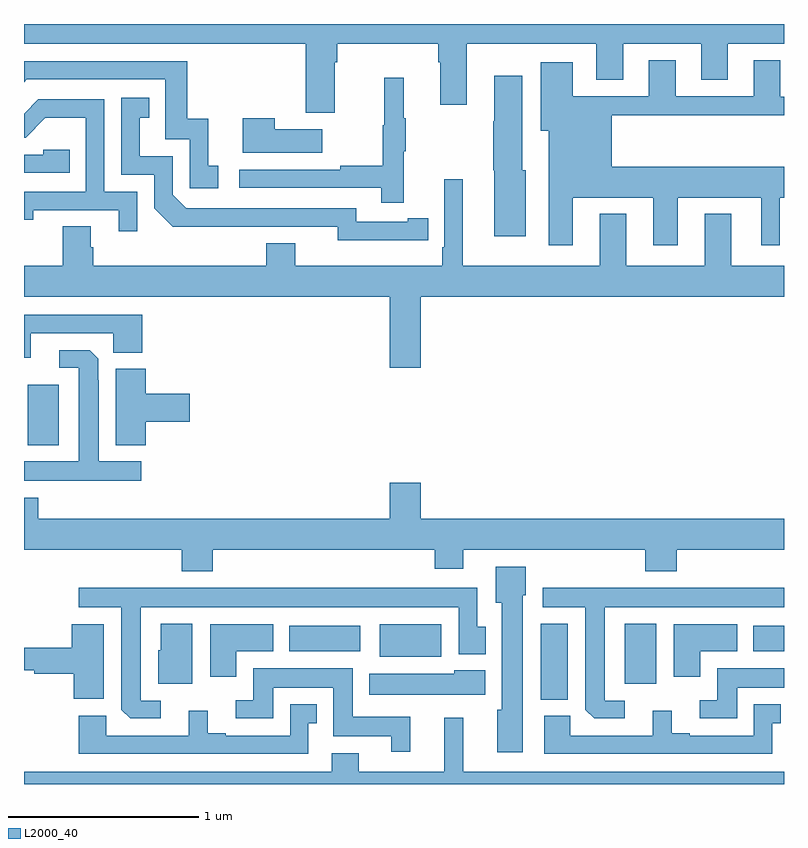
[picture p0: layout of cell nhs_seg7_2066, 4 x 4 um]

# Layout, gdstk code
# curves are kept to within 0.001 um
import gdstk
lib = gdstk.Library(unit=1e-6, precision=1e-09)
def R(c, l, rs):  # rectangles x0, y0, x1, y1
    for r in rs: c.add(gdstk.rectangle(r[:2], r[2:], *l))
def P(c, l, *ps):  # polygons
    for p in ps: c.add(gdstk.Polygon(p, *l))
L2000_40 = (2000, 40)

nhs_seg7_2066 = lib.new_cell('nhs_seg7_2066')
R(nhs_seg7_2066, L2000_40, [(249.719,1050.443,249.862,1050.844), (250.163,1050.528,250.327,1050.844), (248.873,1050.671,249.196,1050.841), (248.396,1050.698,248.77,1050.832), (250.838,1050.698,251,1050.832), (247.019,1051.784,247.183,1052.101)])
P(nhs_seg7_2066, L2000_40, [(251,1054),(247,1054),(247,1053.896),(248.483,1053.896),(248.483,1053.534),(248.635,1053.534),(248.635,1053.8),(248.648,1053.8),(248.648,1053.896),(249.179,1053.896),(249.179,1053.8),(249.191,1053.8),(249.191,1053.576),(249.331,1053.576),(249.331,1053.896),(250.013,1053.896),(250.013,1053.706),(250.153,1053.706),(250.153,1053.896),(250.565,1053.896),(250.565,1053.706),(250.705,1053.706),(250.705,1053.896),(251,1053.896)],
  [(249.889,1053.086),(250.313,1053.086),(250.313,1052.835),(250.441,1052.835),(250.441,1053.086),(250.88,1053.086),(250.88,1052.835),(250.978,1052.835),(250.978,1053.086),(251,1053.086),(251,1053.25),(250.093,1053.25),(250.093,1053.52),(251,1053.52),(251,1053.618),(250.981,1053.618),(250.981,1053.808),(250.841,1053.808),(250.841,1053.621),(250.429,1053.621),(250.429,1053.808),(250.289,1053.808),(250.289,1053.621),(249.889,1053.621),(249.889,1053.799),(249.719,1053.799),(249.719,1053.437),(249.761,1053.437),(249.761,1052.835),(249.889,1052.835)],
  [(248.023,1053.255),(247.97,1053.255),(247.97,1053.502),(247.859,1053.502),(247.859,1053.804),(247,1053.804),(247,1053.694),(247.014,1053.708),(247.743,1053.708),(247.743,1053.393),(247.872,1053.393),(247.872,1053.135),(248.023,1053.135)],
  [(249.64,1053.231),(249.622,1053.231),(249.622,1053.727),(249.476,1053.727),(249.476,1053.488),(249.469,1053.488),(249.469,1053.231),(249.476,1053.231),(249.476,1052.883),(249.64,1052.883)],
  [(248.999,1053.331),(249.01,1053.331),(249.01,1053.505),(248.999,1053.505),(248.999,1053.718),(248.896,1053.718),(248.896,1053.468),(248.889,1053.468),(248.889,1053.254),(248.665,1053.254),(248.665,1053.234),(248.133,1053.234),(248.133,1053.138),(248.881,1053.138),(248.881,1053.06),(248.999,1053.06)],
  [(249.02,1052.862),(249.128,1052.862),(249.128,1052.978),(249.02,1052.978),(249.02,1052.958),(248.748,1052.958),(248.748,1053.03),(247.854,1053.03),(247.782,1053.102),(247.782,1053.303),(247.609,1053.303),(247.609,1053.507),(247.658,1053.507),(247.658,1053.613),(247.512,1053.613),(247.512,1053.207),(247.686,1053.207),(247.686,1053.03),(247.784,1052.933),(248.652,1052.934),(248.652,1052.861)],
  [(247.596,1053.117),(247.422,1053.117),(247.422,1053.603),(247.076,1053.603),(247,1053.527),(247,1053.402),(247.008,1053.402),(247.112,1053.506),(247.326,1053.506),(247.326,1053.117),(247,1053.117),(247,1052.97),(247.048,1052.97),(247.048,1053.021),(247.499,1053.021),(247.499,1052.91),(247.596,1052.91)],
  [(248.569,1053.445),(248.321,1053.445),(248.321,1053.505),(248.15,1053.505),(248.15,1053.323),(248.569,1053.323)],
  [(247.241,1053.339),(247.101,1053.339),(247.101,1053.312),(247,1053.312),(247,1053.216),(247.241,1053.216)],
  [(248.428,1052.845),(248.276,1052.845),(248.276,1052.728),(247.364,1052.728),(247.364,1052.826),(247.351,1052.826),(247.351,1052.936),(247.204,1052.936),(247.204,1052.728),(247,1052.728),(247,1052.564),(248.924,1052.564),(248.924,1052.19),(249.088,1052.19),(249.088,1052.564),(251,1052.564),(251,1052.728),(250.723,1052.728),(250.723,1053.001),(250.583,1053.001),(250.583,1052.728),(250.171,1052.728),(250.171,1053.001),(250.031,1053.001),(250.031,1052.728),(249.31,1052.728),(249.31,1053.184),(249.213,1053.184),(249.213,1052.824),(249.2,1052.824),(249.2,1052.728),(248.428,1052.728)],
  [(247.036,1052.373),(247.47,1052.373),(247.47,1052.27),(247.622,1052.27),(247.622,1052.469),(247,1052.469),(247,1052.244),(247.036,1052.244)],
  [(247.618,1051.699),(247.393,1051.699),(247.392,1052.237),(247.346,1052.283),(247.185,1052.283),(247.185,1052.19),(247.289,1052.19),(247.289,1051.699),(247,1051.699),(247,1051.595),(247.618,1051.595)],
  [(247.64,1051.907),(247.873,1051.907),(247.873,1052.054),(247.64,1052.054),(247.64,1052.185),(247.484,1052.185),(247.484,1051.784),(247.64,1051.784)],
  [(247.994,1051.232),(249.161,1051.232),(249.161,1051.133),(249.313,1051.133),(249.313,1051.232),(250.271,1051.232),(250.271,1051.121),(250.436,1051.121),(250.436,1051.232),(251,1051.232),(251,1051.396),(249.088,1051.396),(249.088,1051.585),(248.924,1051.585),(248.924,1051.396),(247.076,1051.396),(247.076,1051.507),(247,1051.507),(247,1051.232),(247.829,1051.232),(247.829,1051.121),(247.994,1051.121)],
  [(249.625,1050.993),(249.64,1050.993),(249.64,1051.144),(249.482,1051.144),(249.482,1050.953),(249.515,1050.953),(249.515,1050.39),(249.491,1050.39),(249.491,1050.168),(249.625,1050.168)],
  [(250.162,1050.438),(250.057,1050.438),(250.057,1050.929),(251,1050.929),(251,1051.033),(249.729,1051.033),(249.729,1050.929),(249.953,1050.929),(249.954,1050.391),(250,1050.345),(250.162,1050.345)],
  [(247.72,1050.438),(247.615,1050.438),(247.615,1050.929),(249.288,1050.929),(249.288,1050.684),(249.43,1050.684),(249.43,1050.828),(249.385,1050.828),(249.385,1051.033),(247.287,1051.033),(247.287,1050.929),(247.511,1050.929),(247.512,1050.391),(247.558,1050.345),(247.72,1050.345)],
  [(247.885,1050.844),(247.721,1050.844),(247.721,1050.705),(247.706,1050.705),(247.706,1050.528),(247.885,1050.528)],
  [(248.116,1050.698),(248.311,1050.698),(248.311,1050.841),(247.979,1050.841),(247.979,1050.564),(248.116,1050.564)],
  [(247.42,1050.841),(247.25,1050.841),(247.25,1050.716),(247,1050.716),(247,1050.6),(247.054,1050.6),(247.054,1050.58),(247.262,1050.58),(247.262,1050.449),(247.42,1050.449)],
  [(250.558,1050.698),(250.753,1050.698),(250.753,1050.841),(250.421,1050.841),(250.421,1050.564),(250.558,1050.564)],
  [(250.753,1050.506),(251,1050.506),(251,1050.61),(250.649,1050.61),(250.649,1050.441),(250.557,1050.441),(250.557,1050.345),(250.753,1050.345)],
  [(249.032,1050.355),(248.731,1050.355),(248.731,1050.61),(248.207,1050.61),(248.207,1050.441),(248.115,1050.441),(248.115,1050.345),(248.311,1050.345),(248.311,1050.506),(248.627,1050.506),(248.627,1050.251),(248.933,1050.251),(248.933,1050.171),(249.032,1050.171)],
  [(249.427,1050.598),(249.264,1050.598),(249.264,1050.58),(248.816,1050.58),(248.816,1050.47),(249.427,1050.47)],
  [(250.938,1050.321),(250.984,1050.321),(250.984,1050.421),(250.842,1050.421),(250.842,1050.255),(250.504,1050.255),(250.504,1050.268),(250.408,1050.268),(250.408,1050.385),(250.31,1050.385),(250.31,1050.255),(249.876,1050.255),(249.876,1050.358),(249.737,1050.358),(249.737,1050.159),(250.938,1050.159)],
  [(248.496,1050.321),(248.542,1050.321),(248.542,1050.421),(248.4,1050.421),(248.4,1050.255),(248.062,1050.255),(248.062,1050.268),(247.966,1050.268),(247.966,1050.385),(247.868,1050.385),(247.868,1050.255),(247.434,1050.255),(247.434,1050.358),(247.288,1050.358),(247.288,1050.159),(248.496,1050.159)],
  [(251,1050.064),(249.311,1050.064),(249.311,1050.349),(249.212,1050.349),(249.212,1050.064),(248.761,1050.064),(248.761,1050.163),(248.621,1050.163),(248.621,1050.064),(247,1050.064),(247,1050),(251,1050)])

lib.write_gds('nhs_seg7_2066.gds')
